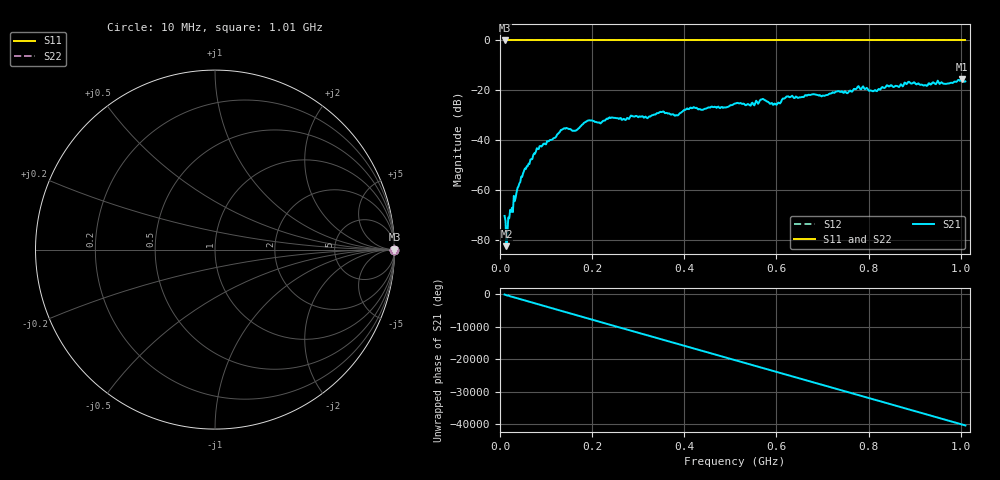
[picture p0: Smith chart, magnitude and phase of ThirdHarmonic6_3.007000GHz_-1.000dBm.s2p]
! 8/17/2025 8:36:59 AM
! C:\ANRITSUVNA\TEMP\TEMP.S2P
! CHANNEL.1
! TR.MEASUREMENT
! RAW.DATA
! RF.CORRECTION.OFF
! AVERAGING.OFF
! IF.BANDWIDTH: 5KHZ
! SWEEPTYPE:  FREQ.SWEEP(Linear)
! Reference Plane Port Info
! PORT:  PORT1  PORT2
! DISTANCE:  0  m  0  m
! TIME:  0  s  0  s
! PHASE.OFFSET:  0  deg.  0  deg.
! LOSS:  0  dB  0  dB
! REF.LOSS:  0  dB  0  dB
! REF.FREQ:  0  Hz  0  Hz
! Power Info
! POWER:  -20  dBm  -20  dBm
! EFF.POWER:  -20  dBm  -20  dBm
! SOURCE.ATTEN:  0  dB  0  dB
! TEST.ATTEN:  0  dB  0  dB
# GHZ S RI R 50.0
! FREQ.GHZ  S11RE  S11IM  S21RE  S21IM  S12RE  S12IM  S22RE  S22IM
!; PortSelection: Port_12
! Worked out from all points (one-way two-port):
!   501 points, 10 MHz to 1.01 GHz, reference 50 ohm
!   highest |S21| = -15.37 dB at 1.002 GHz (marker M1); lowest = -82.3 dB at 14 MHz (marker M2)
!   lowest |S11| = 0.0 dB at 10 MHz (marker M3)
!   |S11| at or under -10 dB: nowhere
!   |S22| runs from 0.0 to 0.0 dB; largest |S21 - S12| = 1.2
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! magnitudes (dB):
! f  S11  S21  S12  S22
! 10 MHz  0.0  -70.2  0.0  0.0
! 14 MHz  0.0  -82.3  0.0  0.0
! 18 MHz  0.0  -70.9  0.0  0.0
! 22 MHz  0.0  -67.8  0.0  0.0
! 50 MHz  0.0  -53.3  0.0  0.0
! 78 MHz  0.0  -44.4  0.0  0.0
! 136 MHz  0.0  -35.6  0.0  0.0
! 162 MHz  0.0  -36.2  0.0  0.0
! 178 MHz  0.0  -33.7  0.0  0.0
! 344 MHz  0.0  -29.1  0.0  0.0
! 382 MHz  0.0  -29.9  0.0  0.0
! 416 MHz  0.0  -27.1  0.0  0.0
! 510 MHz  0.0  -25.3  0.0  0.0
! 570 MHz  0.0  -23.4  0.0  0.0
! 596 MHz  0.0  -25.2  0.0  0.0
! 622 MHz  0.0  -22.4  0.0  0.0
! 678 MHz  0.0  -21.6  0.0  0.0
! 776 MHz  0.0  -18.6  0.0  0.0
! 814 MHz  0.0  -19.9  0.0  0.0
! 844 MHz  0.0  -18.4  0.0  0.0
! 1.002 GHz  0.0  -15.4  0.0  0.0
! 1.01 GHz  0.0  -16.4  0.0  0.0
